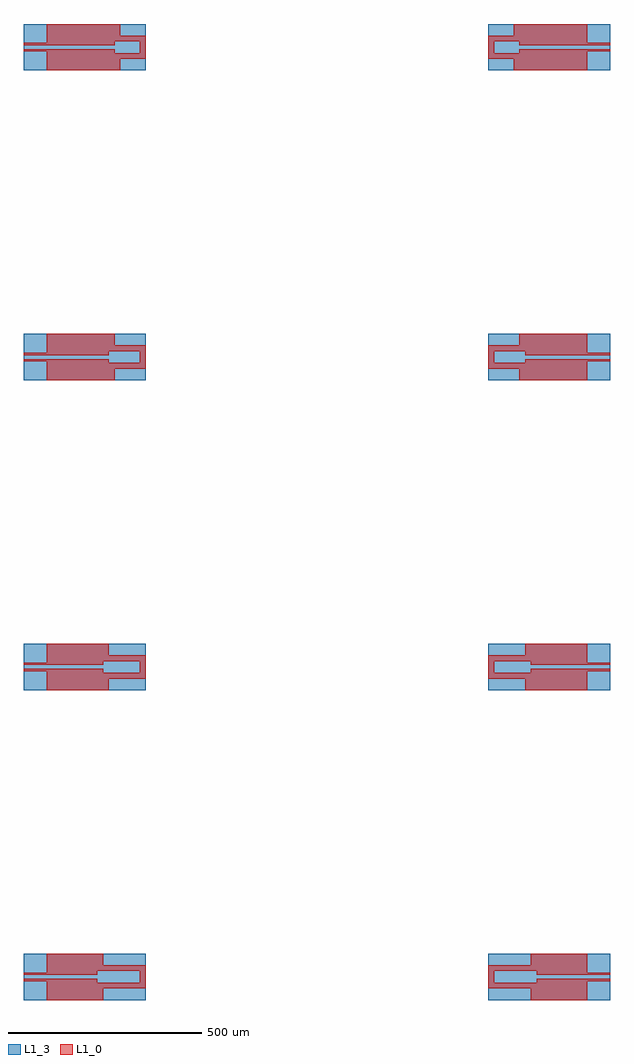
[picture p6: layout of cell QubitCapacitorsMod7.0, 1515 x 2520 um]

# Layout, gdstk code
from math import pi, radians
import gdstk
lib = gdstk.Library(unit=1e-6, precision=1e-09)
def R(c, l, rs):  # rectangles x0, y0, x1, y1
    for r in rs: c.add(gdstk.rectangle(r[:2], r[2:], *l))
def P(c, l, *ps):  # polygons
    for p in ps: c.add(gdstk.Polygon(p, *l))
L1_0 = (1, 0)
L1_3 = (1, 3)

cq1 = lib.new_cell('Cq1')
P(cq1, L1_0, [(-97.5,-60),(-97.5,-11),(-157.5,-11),(-157.5,-5),(77.5,-5),(77.5,-15),(142.5,-15),(142.5,15),(77.5,15),(77.5,5),(-157.5,5),(-157.5,11),(-97.5,11),(-97.5,60),(92.5,60),(92.5,30),(157.5,30),(157.5,-30),(92.5,-30),(92.5,-60)])
R(cq1, L1_3, [(-157.5,-60,157.5,60)])

cq2 = lib.new_cell('Cq2')
P(cq2, L1_0, [(-97.5,-60),(-97.5,-11),(-157.5,-11),(-157.5,-5),(62.5,-5),(62.5,-15),(142.5,-15),(142.5,15),(62.5,15),(62.5,5),(-157.5,5),(-157.5,11),(-97.5,11),(-97.5,60),(77.5,60),(77.5,30),(157.5,30),(157.5,-30),(77.5,-30),(77.5,-60)])
R(cq2, L1_3, [(-157.5,-60,157.5,60)])

cq3 = lib.new_cell('Cq3')
P(cq3, L1_0, [(-97.5,-60),(-97.5,-11),(-157.5,-11),(-157.5,-5),(47.5,-5),(47.5,-15),(142.5,-15),(142.5,15),(47.5,15),(47.5,5),(-157.5,5),(-157.5,11),(-97.5,11),(-97.5,60),(62.5,60),(62.5,30),(157.5,30),(157.5,-30),(62.5,-30),(62.5,-60)])
R(cq3, L1_3, [(-157.5,-60,157.5,60)])

cq4 = lib.new_cell('Cq4')
P(cq4, L1_0, [(-97.5,-60),(-97.5,-11),(-157.5,-11),(-157.5,-5),(32.5,-5),(32.5,-15),(142.5,-15),(142.5,15),(32.5,15),(32.5,5),(-157.5,5),(-157.5,11),(-97.5,11),(-97.5,60),(47.5,60),(47.5,30),(157.5,30),(157.5,-30),(47.5,-30),(47.5,-60)])
R(cq4, L1_3, [(-157.5,-60,157.5,60)])

qubitcapacitorsmod7_0 = lib.new_cell('QubitCapacitorsMod7.0')
qubitcapacitorsmod7_0.add(gdstk.Reference(cq1, (-600,1200)))
qubitcapacitorsmod7_0.add(gdstk.Reference(cq2, (-600,400)))
qubitcapacitorsmod7_0.add(gdstk.Reference(cq3, (-600,-400)))
qubitcapacitorsmod7_0.add(gdstk.Reference(cq4, (-600,-1200)))
qubitcapacitorsmod7_0.add(gdstk.Reference(cq1, (600,1200), rotation=pi))
qubitcapacitorsmod7_0.add(gdstk.Reference(cq2, (600,400), rotation=pi))
qubitcapacitorsmod7_0.add(gdstk.Reference(cq3, (600,-400), rotation=pi))
qubitcapacitorsmod7_0.add(gdstk.Reference(cq4, (600,-1200), rotation=pi))

lib.write_gds('QubitCapacitorsMod7.0.gds')
